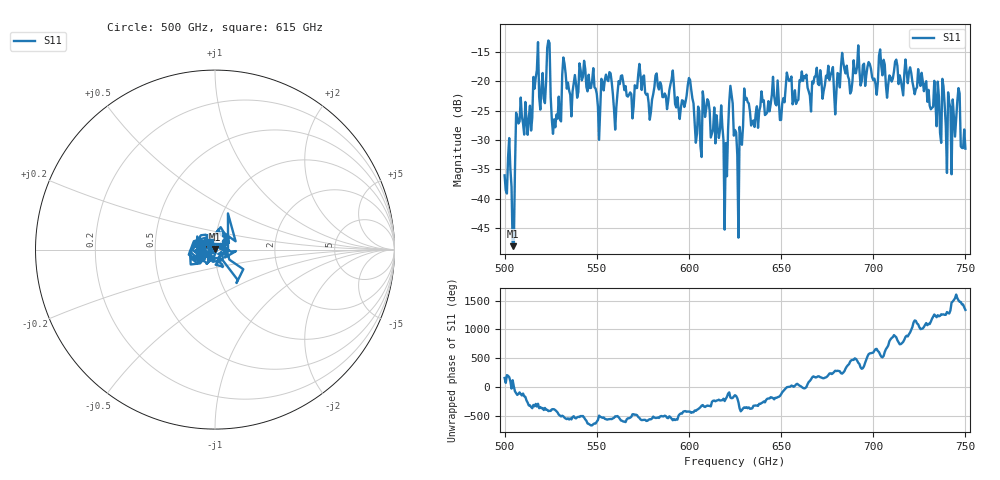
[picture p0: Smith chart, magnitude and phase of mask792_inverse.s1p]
!Created with skrf (http://scikit-rf.org).
# GHz S MA R 50.0
!freq magS11 angS11
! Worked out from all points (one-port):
!   401 points, 500 GHz to 750 GHz, reference 50 ohm
!   lowest |S11| = -48.0 dB at 504.4 GHz (marker M1), VSWR 1.01, Z = 49.8 + j0.346 ohm
!   |S11| at or under -10 dB: start of sweep to end of sweep
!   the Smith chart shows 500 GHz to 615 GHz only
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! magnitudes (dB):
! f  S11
! 500 GHz  -36.0
! 502.5 GHz  -29.7
! 504.4 GHz  -48.0
! 507.5 GHz  -27.2
! 513.8 GHz  -24.2
! 516.9 GHz  -19.4
! 520.6 GHz  -18.6
! 523.8 GHz  -13.1
! 526.9 GHz  -26.5
! 531.2 GHz  -18.9
! 560 GHz  -28.2
! 562.5 GHz  -20.5
! 593.8 GHz  -22.7
! 600.6 GHz  -19.8
! 605.6 GHz  -25.1
! 608.8 GHz  -26.1
! 620 GHz  -30.5
! 622.5 GHz  -20.8
! 625 GHz  -28.3
! 627.5 GHz  -27.8
! 631.2 GHz  -22.9
! 635 GHz  -26.7
! 656.2 GHz  -24.0
! 687.5 GHz  -22.1
! 718.8 GHz  -20.4
! 741.2 GHz  -23.7
! 745.6 GHz  -23.4
! 750 GHz  -31.5
